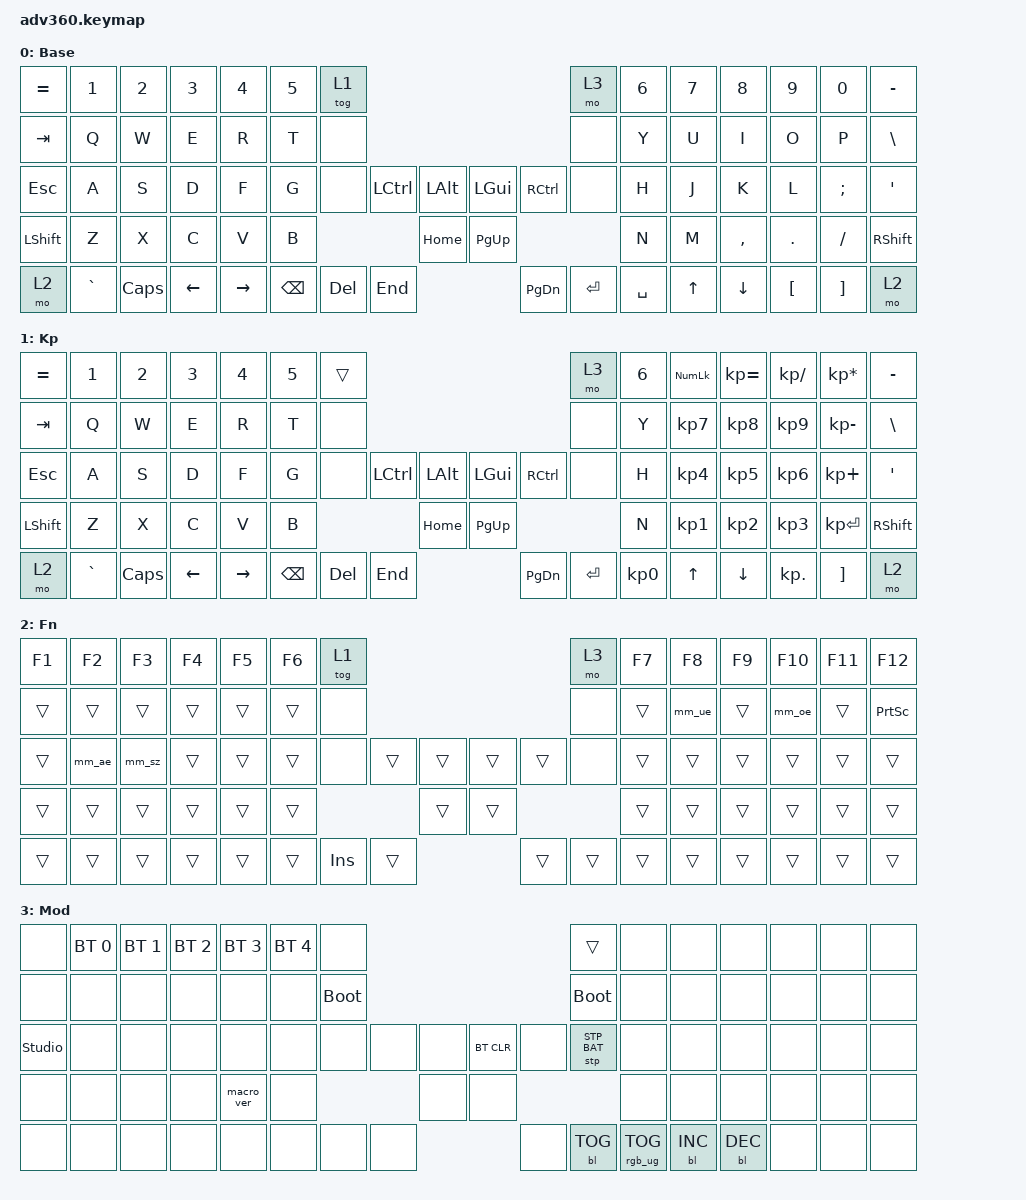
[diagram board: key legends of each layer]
#include <behaviors.dtsi>
#include <dt-bindings/zmk/keys.h>
#include <dt-bindings/zmk/bt.h>
#include <dt-bindings/zmk/rgb.h>
#include <dt-bindings/zmk/stp.h>
#include <dt-bindings/zmk/backlight.h>
#include <dt-bindings/zmk/pointing.h>

/ {
    behaviors {
      #include "macros.dtsi"
      #include "version.dtsi"

      hm: homerow_mods {
          compatible = "zmk,behavior-hold-tap";
          label = "HOMEROW_MODS";
          #binding-cells = <2>;
          tapping-term-ms = <200>;
          quick_tap_ms = <175>;
          flavor = "tap-preferred";
          bindings = <&kp>, <&kp>;
      };

    // =============== ä / Ä =================
    ae_l: ae_l {
        compatible = "zmk,behavior-macro";
        label = "AE_L"; #binding-cells = <0>;
        bindings = <
            &macro_tap &kp RALT      // Compose-Key
            &macro_tap &kp DQT       // "
            &macro_tap &kp A
        >;
    };
    ae_u: ae_u {
        compatible = "zmk,behavior-macro";
        label = "AE_U"; #binding-cells = <0>;
        bindings = <
            &macro_tap &kp RALT
            &macro_tap &kp DQT
            &macro_tap &kp LS(A)
        >;
    };

    // =============== ö / Ö =================
    oe_l: oe_l {
        compatible = "zmk,behavior-macro";
        label = "OE_L"; #binding-cells = <0>;
        bindings = <
            &macro_tap &kp RALT
            &macro_tap &kp DQT
            &macro_tap &kp O
        >;
    };
    oe_u: oe_u {
        compatible = "zmk,behavior-macro";
        label = "OE_U"; #binding-cells = <0>;
        bindings = <
            &macro_tap &kp RALT
            &macro_tap &kp DQT
            &macro_tap &kp LS(O)
        >;
    };

    // =============== ü / Ü =================
    ue_l: ue_l {
        compatible = "zmk,behavior-macro";
        label = "UE_L"; #binding-cells = <0>;
        bindings = <
            &macro_tap &kp RALT
            &macro_tap &kp DQT
            &macro_tap &kp U
        >;
    };
    ue_u: ue_u {
        compatible = "zmk,behavior-macro";
        label = "UE_U"; #binding-cells = <0>;
        bindings = <
            &macro_tap &kp RALT
            &macro_tap &kp DQT
            &macro_tap &kp LS(U)
        >;
    };

    // =============== ß / ẞ =================
    sz_l: sz_l {
        compatible = "zmk,behavior-macro";
        label = "SZ_L"; #binding-cells = <0>;
        bindings = <
            &macro_tap &kp RALT    // Compose
            &macro_tap &kp S
            &macro_tap &kp S
        >;
    };
    sz_u: sz_u {
        compatible = "zmk,behavior-macro";
        label = "SZ_U"; #binding-cells = <0>;
        bindings = <
            &macro_tap &kp RALT
            &macro_tap &kp LS(S)
            &macro_tap &kp LS(S)
        >;
    };

    // ======================================================
    // Shift-aware Auswahl (keine binding-cells!)
    // ======================================================
    mm_ae: mm_ae {
        compatible = "zmk,behavior-mod-morph";
        label = "MM_AE"; #binding-cells = <0>;
        mods = <(MOD_LSFT|MOD_RSFT)>;
        bindings = <&ae_l &ae_u>;
    };
    mm_oe: mm_oe {
        compatible = "zmk,behavior-mod-morph";
        label = "MM_OE"; #binding-cells = <0>;
        mods = <(MOD_LSFT|MOD_RSFT)>;
        bindings = <&oe_l &oe_u>;
    };
    mm_ue: mm_ue {
        compatible = "zmk,behavior-mod-morph";
        label = "MM_UE"; #binding-cells = <0>;
        mods = <(MOD_LSFT|MOD_RSFT)>;
        bindings = <&ue_l &ue_u>;
    };
    mm_sz: mm_sz {
        compatible = "zmk,behavior-mod-morph";
        label = "MM_SZ"; #binding-cells = <0>;
        mods = <(MOD_LSFT|MOD_RSFT)>;
        bindings = <&sz_l &sz_u>;
    };
  };

  keymap {
    compatible = "zmk,keymap";

    default_layer {
      display-name = "Base";
      bindings = <
        &kp EQUAL &kp N1    &kp N2   &kp N3   &kp N4     &kp N5 &tog 1                                                           &mo 3 &kp N6 &kp N7 &kp N8    &kp N9   &kp N0   &kp MINUS
        &kp TAB   &kp Q     &kp W    &kp E    &kp R      &kp T  &none                                                            &none &kp Y  &kp U  &kp I     &kp O    &kp P    &kp BSLH
        &kp ESC   &kp A     &kp S    &kp D    &kp F      &kp G  &none           &kp LCTRL &kp LALT &kp LGUI  &kp RCTRL           &none &kp H  &kp J  &kp K     &kp L    &kp SEMI &kp SQT
        &kp LSHFT &kp Z     &kp X    &kp C    &kp V      &kp B                            &kp HOME &kp PG_UP                           &kp N  &kp M  &kp COMMA &kp DOT  &kp FSLH &kp RSHFT
        &mo 2     &kp GRAVE &kp CAPS &kp LEFT &kp RIGHT                &kp BSPC &kp DEL   &kp END  &kp PG_DN &kp ENTER &kp SPACE              &kp UP &kp DOWN  &kp LBKT &kp RBKT &mo 2
      >;
    };
    keypad {
      display-name = "Kp";
      bindings = <
        &kp EQUAL &kp N1    &kp N2   &kp N3   &kp N4     &kp N5 &trans                                                           &mo 3 &kp N6 &kp KP_NUM &kp KP_EQUAL &kp KP_DIVIDE &kp KP_MULTIPLY &kp MINUS
        &kp TAB   &kp Q     &kp W    &kp E    &kp R      &kp T  &none                                                            &none &kp Y  &kp KP_N7  &kp KP_N8    &kp KP_N9     &kp KP_MINUS    &kp BSLH
        &kp ESC   &kp A     &kp S    &kp D    &kp F      &kp G  &none           &kp LCTRL &kp LALT &kp LGUI  &kp RCTRL           &none &kp H  &kp KP_N4  &kp KP_N5    &kp KP_N6     &kp KP_PLUS     &kp SQT
        &kp LSHFT &kp Z     &kp X    &kp C    &kp V      &kp B                            &kp HOME &kp PG_UP                           &kp N  &kp KP_N1  &kp KP_N2    &kp KP_N3     &kp KP_ENTER    &kp RSHFT
        &mo 2     &kp GRAVE &kp CAPS &kp LEFT &kp RIGHT                &kp BSPC &kp DEL   &kp END  &kp PG_DN &kp ENTER &kp KP_N0              &kp UP     &kp DOWN     &kp KP_DOT    &kp RBKT        &mo 2
      >;
    };
    fn {
      display-name = "Fn";
      bindings = <
        &kp F1 &kp F2 &kp F3 &kp F4 &kp F5 &kp F6 &tog 1                                                     &mo 3 &kp F7 &kp F8 &kp F9 &kp F10 &kp F11 &kp F12
        &trans &trans &trans &trans &trans &trans  &none                                                     &none &trans &mm_ue &trans &mm_oe  &trans  &kp PSCRN
        &trans &mm_ae &mm_sz &trans &trans &trans  &none             &trans &trans &trans &trans             &none &trans &trans &trans &trans  &trans  &trans
        &trans &trans &trans &trans &trans &trans                           &trans &trans                          &trans &trans &trans &trans  &trans  &trans
        &trans &trans &trans &trans &trans                   &trans &kp INS &trans &trans &trans &trans                   &trans &trans &trans  &trans  &trans
      >;
    };
    mod {
      display-name = "Mod";
      bindings = <
        &none &bt BT_SEL 0 &bt BT_SEL 1 &bt BT_SEL 2 &bt BT_SEL 3 &bt BT_SEL 4 &none                                                                     &trans                 &none        &none        &none        &none &none &none
        &none &none        &none        &none        &none        &none        &bootloader                                                               &bootloader            &none        &none        &none        &none &none &none
        &studio_unlock &none        &none        &none        &none        &none        &none                   &none &none &bt BT_CLR &none                      &stp STP_BAT &none        &none        &none        &none &none &none
        &none &none        &none        &none        &macro_ver   &none                                      &none &none                                                        &none        &none        &none        &none &none &none
        &none &none        &none        &none        &none                                       &none &none &none &none      &bl BL_TOG &rgb_ug RGB_TOG                                     &bl BL_INC   &bl BL_DEC   &none &none &none
      >;
    };
    extra1 { 
      display-name = "Red";    
      status = "reserved";
    };

    extra2 { 
      display-name = "Purple";    
      status = "reserved";
    };

    extra3 { 
      display-name = "Cyan";    
      status = "reserved";
    };

    extra4 { 
      display-name = "Yellow";    
      status = "reserved";
    };
  };
};
